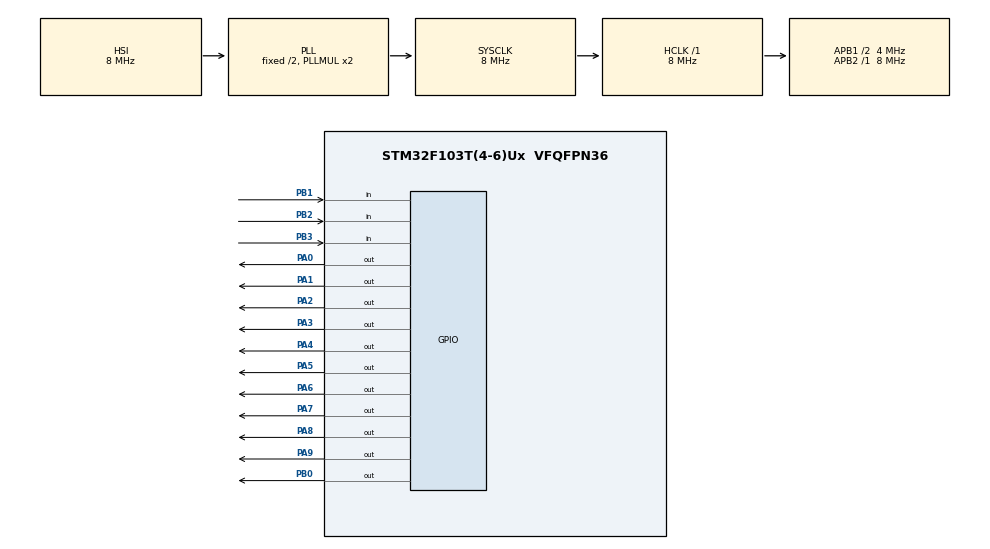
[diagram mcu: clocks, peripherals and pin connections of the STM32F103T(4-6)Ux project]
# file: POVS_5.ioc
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Mcu.Family=STM32F1
Mcu.Name=STM32F103T(4-6)Ux
Mcu.Package=VFQFPN36
NVIC.PriorityGroup=NVIC_PRIORITYGROUP_4
NVIC.TIM1_UP_IRQn=true\:0\:0\:false\:false\:true\:true\:true
PA0-WKUP.Signal=GPIO_Output
PA1.Signal=GPIO_Output
PA2.Signal=GPIO_Output
PA3.Signal=GPIO_Output
PA4.Signal=GPIO_Output
PA5.Signal=GPIO_Output
PA6.Signal=GPIO_Output
PA7.Signal=GPIO_Output
PA8.Signal=GPIO_Output
PA9.Signal=GPIO_Output
PB0.Signal=GPIO_Output
PB1.GPIO_PuPd=GPIO_PULLUP
PB1.Signal=GPIO_Input
PB2.GPIO_PuPd=GPIO_PULLUP
PB2.Signal=GPIO_Input
PB3.GPIO_PuPd=GPIO_PULLUP
PB3.Signal=GPIO_Input
ProjectManager.HeapSize=0x200
ProjectManager.StackSize=0x400
ProjectManager.TargetToolchain=MDK-ARM V5
RCC.AHBFreq_Value=8000000
RCC.APB1CLKDivider=RCC_HCLK_DIV2
RCC.APB1Freq_Value=4000000
RCC.APB1TimFreq_Value=8000000
RCC.APB2Freq_Value=8000000
RCC.APB2TimFreq_Value=8000000
RCC.HCLKFreq_Value=8000000
RCC.SYSCLKFreq_VALUE=8000000
RCC.SYSCLKSource=RCC_SYSCLKSOURCE_PLLCLK
RCC.USBFreq_Value=8000000
TIM1.Period=1
TIM1.Prescaler=7999
VP_SYS_VS_ND.Mode=No_Debug
VP_TIM1_VS_ClockSourceINT.Mode=Internal
board=custom

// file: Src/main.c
/* USER CODE BEGIN Header */
/**
  ******************************************************************************
  * @file           : main.c
  * @brief          : Main program body
  ******************************************************************************
  * @attention
  *
  * <h2><center>&copy; Copyright (c) 2019 STMicroelectronics.
  * All rights reserved.</center></h2>
  *
  * This software component is licensed by ST under BSD 3-Clause license,
  * the "License"; You may not use this file except in compliance with the
  * License. You may obtain a copy of the License at:
  *                        opensource.org/licenses/BSD-3-Clause
  *
  ******************************************************************************
  */
/* USER CODE END Header */

#include "main.h"

/* USER CODE BEGIN Includes */
#include "math.h"
#include "stdio.h"
#include "itoa.h"
#include "STM_MY_LCD16X2.h"
/* USER CODE END Includes */

TIM_HandleTypeDef htim1;

/* USER CODE BEGIN PV */
const double DELTA = 0.001;
const double PI = 3.1416926;
const int HIGH = 1;
const int LOW = 0;

double occupancyRate = 0.5;
double time = 0.001;
int frequency = 9;
/* USER CODE END PV */

void SystemClock_Config(void);
static void MX_GPIO_Init(void);
static void MX_TIM1_Init(void);

/* USER CODE BEGIN 0 */
void WriteFrequency(void)
{
	LCD1602_1stLine();
	LCD1602_print("Frequency ");
	char str[16];
  itoa(frequency, str, 10);
	LCD1602_print(str);
	LCD1602_print(" ");
}

void WriteOccupancyRate(void)
{
	LCD1602_2ndLine();
	LCD1602_print("Occupancy ");
	char str[16];
	sprintf(str, "%0.1f", occupancyRate);
	LCD1602_print(str);
	LCD1602_print(" ");
}

double GetImpulseValue(double time)
{
	double fi = 2 * PI * frequency * time;
	double v_sin = sin(fi) + 1;

	return (v_sin >= 2 - 2 * occupancyRate ? HIGH : LOW);
}

void EXTI2_IRQHandler(void)
{
	if (HAL_GPIO_ReadPin(GPIOB, GPIO_PIN_1) == 0)
	{
		if (occupancyRate > 0.2)
		{
			occupancyRate -= 0.1;
		}
	}
	else
	{
		if (occupancyRate < 0.8)
		{
		  occupancyRate += 0.1;
		}
	}
	WriteOccupancyRate();
}

void EXTI3_IRQHandler(void)
{
	if (HAL_GPIO_ReadPin(GPIOB, GPIO_PIN_1) == 0)
	{
		if (frequency > 1)
		{
			frequency -= 1;
		}
	}
	else
	{
		if (frequency < 50)
		{
		  frequency += 1;
		}
	}
	WriteFrequency();
}

void HAL_TIM_PeriodElapsedCallback(TIM_HandleTypeDef *htim)
{
	if (GetImpulseValue(time) == LOW)
	{
		HAL_GPIO_WritePin(GPIOB, GPIO_PIN_0, GPIO_PIN_RESET);
		time += DELTA;
	}
	else
	{
		HAL_GPIO_WritePin(GPIOB, GPIO_PIN_0, GPIO_PIN_SET);
		time += DELTA;
	}
}
/* USER CODE END 0 */

int main(void)
{

  /* MCU Configuration--------------------------------------------------------*/

  /* Reset of all peripherals, Initializes the Flash interface and the Systick. */
  HAL_Init();

  /* Configure the system clock */
  SystemClock_Config();

  /* Initialize all configured peripherals */
  MX_GPIO_Init();
  MX_TIM1_Init();
  /* USER CODE BEGIN 2 */

	AFIO->EXTICR[0] |= AFIO_EXTICR1_EXTI2_PB | AFIO_EXTICR1_EXTI3_PB;
	EXTI->RTSR |= EXTI_RTSR_TR2 | EXTI_RTSR_TR3;
	EXTI->FTSR |= EXTI_FTSR_TR2 | EXTI_FTSR_TR3;
	EXTI->PR |= EXTI_PR_PR2 | EXTI_PR_PR3;
	EXTI->IMR |= EXTI_IMR_MR2 | EXTI_IMR_MR3;

	NVIC_EnableIRQ(EXTI2_IRQn);
	NVIC_EnableIRQ(EXTI3_IRQn);

	LCD1602_Begin8BIT(GPIOA, GPIO_PIN_9, GPIO_PIN_8, GPIOA, GPIO_PIN_0, GPIO_PIN_1, GPIO_PIN_2, GPIO_PIN_3, GPIOA, GPIO_PIN_4, GPIO_PIN_5, GPIO_PIN_6, GPIO_PIN_7);

	HAL_TIM_Base_Start_IT(&htim1);
	WriteFrequency();
	WriteOccupancyRate();

  /* USER CODE END 2 */

  /* Infinite loop */
  while (1)
  {

  }
}

void SystemClock_Config(void)
{
  RCC_OscInitTypeDef RCC_OscInitStruct = {0};
  RCC_ClkInitTypeDef RCC_ClkInitStruct = {0};

  /** Initializes the CPU, AHB and APB busses clocks
  */
  RCC_OscInitStruct.OscillatorType = RCC_OSCILLATORTYPE_HSI;
  RCC_OscInitStruct.HSIState = RCC_HSI_ON;
  RCC_OscInitStruct.HSICalibrationValue = RCC_HSICALIBRATION_DEFAULT;
  RCC_OscInitStruct.PLL.PLLState = RCC_PLL_ON;
  RCC_OscInitStruct.PLL.PLLSource = RCC_PLLSOURCE_HSI_DIV2;
  RCC_OscInitStruct.PLL.PLLMUL = RCC_PLL_MUL2;
  if (HAL_RCC_OscConfig(&RCC_OscInitStruct) != HAL_OK)
  {
    Error_Handler();
  }
  /** Initializes the CPU, AHB and APB busses clocks
  */
  RCC_ClkInitStruct.ClockType = RCC_CLOCKTYPE_HCLK|RCC_CLOCKTYPE_SYSCLK
                              |RCC_CLOCKTYPE_PCLK1|RCC_CLOCKTYPE_PCLK2;
  RCC_ClkInitStruct.SYSCLKSource = RCC_SYSCLKSOURCE_PLLCLK;
  RCC_ClkInitStruct.AHBCLKDivider = RCC_SYSCLK_DIV1;
  RCC_ClkInitStruct.APB1CLKDivider = RCC_HCLK_DIV2;
  RCC_ClkInitStruct.APB2CLKDivider = RCC_HCLK_DIV1;

  if (HAL_RCC_ClockConfig(&RCC_ClkInitStruct, FLASH_LATENCY_0) != HAL_OK)
  {
    Error_Handler();
  }
}

static void MX_TIM1_Init(void)
{

  TIM_ClockConfigTypeDef sClockSourceConfig = {0};
  TIM_MasterConfigTypeDef sMasterConfig = {0};

  htim1.Instance = TIM1;
  htim1.Init.Prescaler = 7999;
  htim1.Init.CounterMode = TIM_COUNTERMODE_UP;
  htim1.Init.Period = 1;
  htim1.Init.ClockDivision = TIM_CLOCKDIVISION_DIV1;
  htim1.Init.RepetitionCounter = 0;
  htim1.Init.AutoReloadPreload = TIM_AUTORELOAD_PRELOAD_DISABLE;
  if (HAL_TIM_Base_Init(&htim1) != HAL_OK)
  {
    Error_Handler();
  }
  sClockSourceConfig.ClockSource = TIM_CLOCKSOURCE_INTERNAL;
  if (HAL_TIM_ConfigClockSource(&htim1, &sClockSourceConfig) != HAL_OK)
  {
    Error_Handler();
  }
  sMasterConfig.MasterOutputTrigger = TIM_TRGO_RESET;
  sMasterConfig.MasterSlaveMode = TIM_MASTERSLAVEMODE_DISABLE;
  if (HAL_TIMEx_MasterConfigSynchronization(&htim1, &sMasterConfig) != HAL_OK)
  {
    Error_Handler();
  }

}

static void MX_GPIO_Init(void)
{
  GPIO_InitTypeDef GPIO_InitStruct = {0};

  /* GPIO Ports Clock Enable */
  __HAL_RCC_GPIOA_CLK_ENABLE();
  __HAL_RCC_GPIOB_CLK_ENABLE();

  /*Configure GPIO pin Output Level */
  HAL_GPIO_WritePin(GPIOA, GPIO_PIN_0|GPIO_PIN_1|GPIO_PIN_2|GPIO_PIN_3
                          |GPIO_PIN_4|GPIO_PIN_5|GPIO_PIN_6|GPIO_PIN_7
                          |GPIO_PIN_8|GPIO_PIN_9, GPIO_PIN_RESET);

  /*Configure GPIO pin Output Level */
  HAL_GPIO_WritePin(GPIOB, GPIO_PIN_0, GPIO_PIN_RESET);

  /*Configure GPIO pins : PA0 PA1 PA2 PA3
                           PA4 PA5 PA6 PA7
                           PA8 PA9 */
  GPIO_InitStruct.Pin = GPIO_PIN_0|GPIO_PIN_1|GPIO_PIN_2|GPIO_PIN_3
                          |GPIO_PIN_4|GPIO_PIN_5|GPIO_PIN_6|GPIO_PIN_7
                          |GPIO_PIN_8|GPIO_PIN_9;
  GPIO_InitStruct.Mode = GPIO_MODE_OUTPUT_PP;
  GPIO_InitStruct.Pull = GPIO_NOPULL;
  GPIO_InitStruct.Speed = GPIO_SPEED_FREQ_LOW;
  HAL_GPIO_Init(GPIOA, &GPIO_InitStruct);

  /*Configure GPIO pin : PB0 */
  GPIO_InitStruct.Pin = GPIO_PIN_0;
  GPIO_InitStruct.Mode = GPIO_MODE_OUTPUT_PP;
  GPIO_InitStruct.Pull = GPIO_NOPULL;
  GPIO_InitStruct.Speed = GPIO_SPEED_FREQ_LOW;
  HAL_GPIO_Init(GPIOB, &GPIO_InitStruct);

  /*Configure GPIO pins : PB1 PB2 PB3 */
  GPIO_InitStruct.Pin = GPIO_PIN_1|GPIO_PIN_2|GPIO_PIN_3;
  GPIO_InitStruct.Mode = GPIO_MODE_INPUT;
  GPIO_InitStruct.Pull = GPIO_PULLUP;
  HAL_GPIO_Init(GPIOB, &GPIO_InitStruct);

}

void Error_Handler(void)
{
}

/************************ (C) COPYRIGHT STMicroelectronics *****END OF FILE****/
